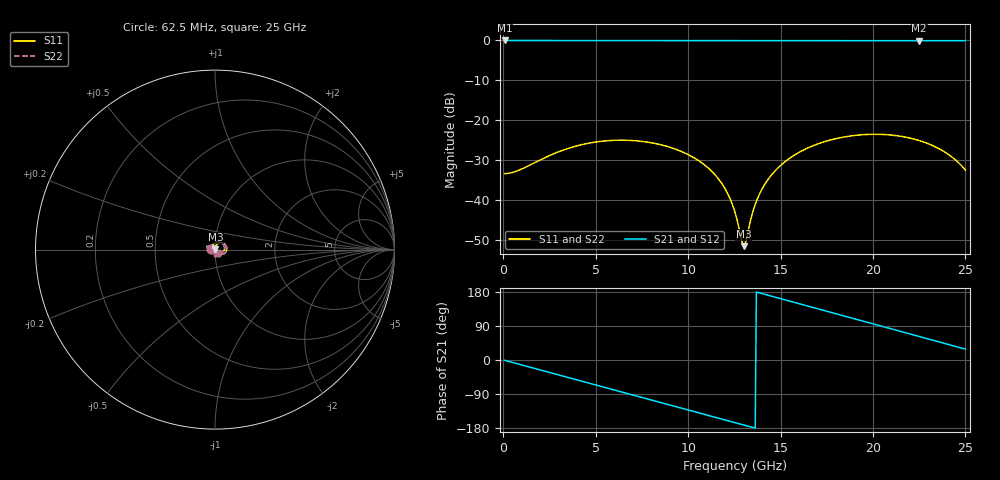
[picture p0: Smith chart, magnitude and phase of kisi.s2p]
! thru_BV_vna_rf_hblb1_q050f25s_in: 2×thru F.Cu, 6 mm
! stackup: as the board case
! ports: 1 near, 2 far
! kisi-fdtd, conformal, dfine 0.05 mm, 301290 cells
# Hz S RI R 50
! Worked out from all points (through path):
!   400 points, 62.5 MHz to 25 GHz, reference 50 ohm
!   highest |S21| = -0.19 dB at 62.5 MHz (marker M1); lowest = -0.3 dB at 22.5 GHz (marker M2)
!   group delay of S21, straight-line fit = 36.8 ps
!   lowest |S11| = -51.6 dB at 13 GHz (marker M3), VSWR 1.01, Z = 50.3 + j0.0609 ohm
!   |S11| at or under -10 dB: start of sweep to end of sweep
!   |S22| runs from -51.6 to -23.6 dB; largest |S21 - S12| = 0
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6.25e7  -0.0212 0.00102  0.9783 -0.0141  0.9783 -0.0141  -0.0212 0.00102
2.0625e9  -0.00867 0.0309  0.8681 -0.448  0.8681 -0.448  -0.00867 0.0309
4.25e9  0.0254 0.0419  0.5437 -0.8091  0.5437 -0.8091  0.0254 0.0419
6.3125e9  0.0508 0.0228  0.1149 -0.9674  0.1149 -0.9674  0.0508 0.0228
8.375e9  0.0493 -0.00555  -0.3397 -0.9131  -0.3397 -0.9131  0.0493 -0.00555
9.9375e9  0.0331 -0.0173  -0.6396 -0.7349  -0.6396 -0.7349  0.0331 -0.0173
1.1125e10  0.0182 -0.0163  -0.8147 -0.5345  -0.8147 -0.5345  0.0182 -0.0163
1.2e10  0.00904 -0.0103  -0.9053 -0.36  -0.9053 -0.36  0.00904 -0.0103
1.25625e10  0.00476 -0.00458  -0.9444 -0.2396  -0.9444 -0.2396  0.00476 -0.00458
1.29375e10  0.00282 -0.000166  -0.9615 -0.1569  -0.9615 -0.1569  0.00282 -0.000166
1.3e10  0.00257 0.000605  -0.9637 -0.143  -0.9637 -0.143  0.00257 0.000605
1.3125e10  0.00215 0.00217  -0.9674 -0.1151  -0.9674 -0.1151  0.00215 0.00217
1.3375e10  0.00158 0.00538  -0.9724 -0.059  -0.9724 -0.059  0.00158 0.00538
1.3625e10  0.0014 0.00866  -0.9741 -0.00265  -0.9741 -0.00265  0.0014 0.00866
1.425e10  0.00264 0.0169  -0.9642 0.1378  -0.9642 0.1378  0.00264 0.0169
1.525e10  0.00949 0.0286  -0.9066 0.3555  -0.9066 0.3555  0.00949 0.0286
1.66875e10  0.0273 0.0379  -0.7399 0.6323  -0.7399 0.6323  0.0273 0.0379
1.8875e10  0.057 0.0273  -0.3384 0.9112  -0.3384 0.9112  0.057 0.0273
2.0875e10  0.0648 -0.00192  0.1059 0.9649  0.1059 0.9649  0.0648 -0.00192
2.25e10  0.0503 -0.0225  0.4543 0.8573  0.4543 0.8573  0.0503 -0.0225
2.39375e10  0.0282 -0.0267  0.7114 0.6606  0.7114 0.6606  0.0282 -0.0267
2.5e10  0.0134 -0.0195  0.853 0.4657  0.853 0.4657  0.0134 -0.0195
